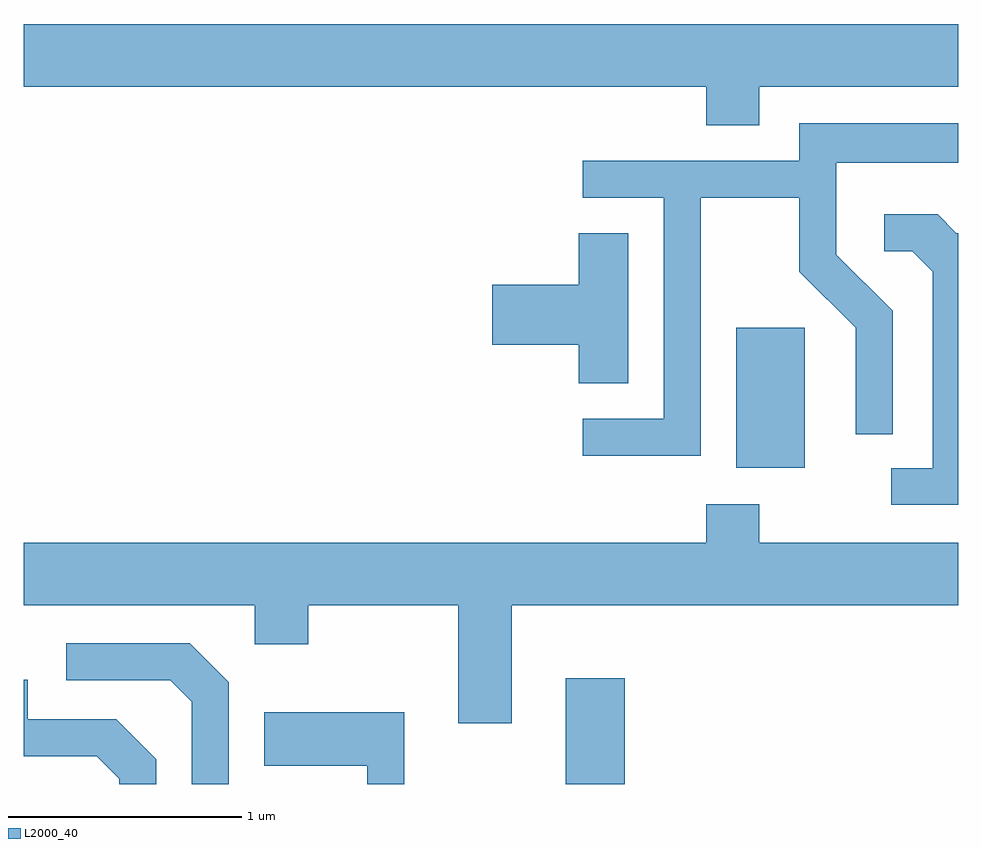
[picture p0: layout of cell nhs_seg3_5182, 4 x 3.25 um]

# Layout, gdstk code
import gdstk
lib = gdstk.Library(unit=1e-6, precision=1e-09)
def R(c, l, rs):  # rectangles x0, y0, x1, y1
    for r in rs: c.add(gdstk.rectangle(r[:2], r[2:], *l))
def P(c, l, *ps):  # polygons
    for p in ps: c.add(gdstk.Polygon(p, *l))
L2000_40 = (2000, 40)

nhs_seg3_5182 = lib.new_cell('nhs_seg3_5182')
R(nhs_seg3_5182, L2000_40, [(339.931,1151.892,340.184,1152.344), (340.661,1153.246,340.954,1153.844)])
P(nhs_seg3_5182, L2000_40, [(340.759,1154.876),(341.611,1154.876),(341.611,1155.144),(337.611,1155.144),(337.611,1154.876),(340.531,1154.876),(340.531,1154.711),(340.759,1154.711)],
  [(340.509,1154.401),(340.931,1154.401),(340.931,1154.084),(341.171,1153.844),(341.171,1153.388),(341.329,1153.388),(341.329,1153.917),(341.089,1154.157),(341.089,1154.551),(341.611,1154.551),(341.611,1154.719),(340.931,1154.719),(340.931,1154.559),(340.003,1154.559),(340.003,1154.401),(340.351,1154.401),(340.351,1153.454),(340.003,1153.454),(340.003,1153.296),(340.509,1153.296)],
  [(341.611,1154.249),(341.602,1154.249),(341.522,1154.329),(341.293,1154.329),(341.293,1154.171),(341.414,1154.171),(341.501,1154.084),(341.501,1153.244),(341.323,1153.244),(341.323,1153.086),(341.611,1153.086)],
  [(340.199,1154.249),(339.986,1154.249),(339.986,1154.029),(339.616,1154.029),(339.616,1153.771),(339.986,1153.771),(339.986,1153.606),(340.199,1153.606)],
  [(339.699,1152.656),(341.611,1152.656),(341.611,1152.924),(340.759,1152.924),(340.759,1153.089),(340.531,1153.089),(340.531,1152.924),(337.611,1152.924),(337.611,1152.656),(338.601,1152.656),(338.601,1152.491),(338.829,1152.491),(338.829,1152.656),(339.471,1152.656),(339.471,1152.151),(339.699,1152.151)],
  [(338.489,1152.327),(338.322,1152.494),(337.793,1152.494),(337.793,1152.336),(338.239,1152.336),(338.331,1152.244),(338.331,1151.892),(338.489,1151.892)],
  [(338.179,1151.997),(338.007,1152.169),(337.629,1152.169),(337.629,1152.339),(337.611,1152.339),(337.611,1152.011),(337.924,1152.011),(338.021,1151.914),(338.021,1151.892),(338.179,1151.892)],
  [(339.239,1152.199),(338.641,1152.199),(338.641,1151.971),(339.081,1151.971),(339.081,1151.892),(339.239,1151.892)])

lib.write_gds('nhs_seg3_5182.gds')
